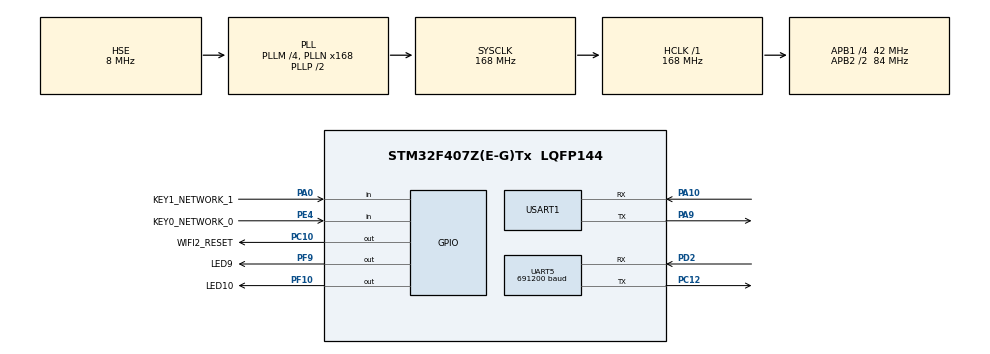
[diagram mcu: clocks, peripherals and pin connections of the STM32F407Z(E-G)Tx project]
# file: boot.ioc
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IWDG.Prescaler=IWDG_PRESCALER_256
Mcu.Family=STM32F4
Mcu.Name=STM32F407Z(E-G)Tx
Mcu.Package=LQFP144
NVIC.PriorityGroup=NVIC_PRIORITYGROUP_4
NVIC.TIM8_TRG_COM_TIM14_IRQn=true\:0\:0\:true\:true\:true\:1\:true\:true
NVIC.UART5_IRQn=true\:0\:0\:false\:false\:true\:true\:true
NVIC.USART1_IRQn=true\:0\:0\:false\:false\:true\:true\:true
PA0-WKUP.GPIO_Label=KEY1_NETWORK_1
PA0-WKUP.GPIO_PuPd=GPIO_PULLDOWN
PA0-WKUP.Signal=GPIO_Input
PA10.GPIO_PuPd=GPIO_PULLUP
PA10.GPIO_Speed=GPIO_SPEED_FREQ_HIGH
PA10.Mode=Asynchronous
PA10.Signal=USART1_RX
PA9.GPIO_PuPd=GPIO_PULLUP
PA9.GPIO_Speed=GPIO_SPEED_FREQ_HIGH
PA9.Mode=Asynchronous
PA9.Signal=USART1_TX
PC10.GPIO_Label=WIFI2_RESET
PC10.GPIO_PuPd=GPIO_PULLUP
PC10.PinState=GPIO_PIN_SET
PC10.Signal=GPIO_Output
PC12.GPIO_Speed=GPIO_SPEED_FREQ_HIGH
PC12.Mode=Asynchronous
PC12.Signal=UART5_TX
PD2.GPIO_Speed=GPIO_SPEED_FREQ_HIGH
PD2.Mode=Asynchronous
PD2.Signal=UART5_RX
PE4.GPIO_Label=KEY0_NETWORK_0
PE4.GPIO_PuPd=GPIO_PULLDOWN
PE4.Signal=GPIO_Input
PF10.GPIO_Label=LED10
PF10.GPIO_ModeDefaultOutputPP=GPIO_MODE_OUTPUT_PP
PF10.GPIO_PuPd=GPIO_PULLUP
PF10.PinState=GPIO_PIN_SET
PF10.Signal=GPIO_Output
PF9.GPIO_Label=LED9
PF9.GPIO_PuPd=GPIO_PULLUP
PF9.PinState=GPIO_PIN_SET
PF9.Signal=GPIO_Output
PH0-OSC_IN.Mode=HSE-External-Oscillator
PH0-OSC_IN.Signal=RCC_OSC_IN
PH1-OSC_OUT.Mode=HSE-External-Oscillator
PH1-OSC_OUT.Signal=RCC_OSC_OUT
ProjectManager.HeapSize=0x200
ProjectManager.StackSize=0x400
ProjectManager.TargetToolchain=MDK-ARM V5
RCC.48MHZClocksFreq_Value=84000000
RCC.AHBFreq_Value=168000000
RCC.APB1CLKDivider=RCC_HCLK_DIV4
RCC.APB1Freq_Value=42000000
RCC.APB1TimFreq_Value=84000000
RCC.APB2CLKDivider=RCC_HCLK_DIV2
RCC.APB2Freq_Value=84000000
RCC.APB2TimFreq_Value=168000000
RCC.CortexFreq_Value=168000000
RCC.HCLKFreq_Value=168000000
RCC.HSE_VALUE=8000000
RCC.HSI_VALUE=16000000
RCC.LSE_VALUE=32768
RCC.PLLM=4
RCC.PLLN=168
RCC.PLLSourceVirtual=RCC_PLLSOURCE_HSE
RCC.SYSCLKFreq_VALUE=168000000
RCC.SYSCLKSource=RCC_SYSCLKSOURCE_PLLCLK
RCC.VCOOutputFreq_Value=336000000
TIM14.AutoReloadPreload=TIM_AUTORELOAD_PRELOAD_ENABLE
TIM14.Period=999
TIM14.Prescaler=8399
UART5.BaudRate=691200
UART5.VirtualMode=Asynchronous
USART1.VirtualMode=VM_ASYNC
VP_IWDG_VS_IWDG.Mode=IWDG_Activate
VP_TIM14_VS_ClockSourceINT.Mode=Enable_Timer
board=custom

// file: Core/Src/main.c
/* USER CODE BEGIN Header */
/**
  ******************************************************************************
  * @file           : main.c
  * @brief          : Main program body
  ******************************************************************************
  * @attention
  *
  * <h2><center>&copy; Copyright (c) 2021 STMicroelectronics.
  * All rights reserved.</center></h2>
  *
  * This software component is licensed by ST under BSD 3-Clause license,
  * the "License"; You may not use this file except in compliance with the
  * License. You may obtain a copy of the License at:
  *                        opensource.org/licenses/BSD-3-Clause
  *
  ******************************************************************************
  */
/* USER CODE END Header */
#include "main.h"
#include "iwdg.h"
#include "tim.h"
#include "usart.h"
#include "gpio.h"

/* USER CODE BEGIN Includes */
#include "esp8266.h"
#include "iap.h"
#include "stmflash.h"
/* USER CODE END Includes */

/* USER CODE BEGIN PM */
uint8_t has_receive_app=0;
uint8_t auto_entry_app=1;
uint8_t p=0;
uint8_t ENTRY_NETWORK_METHOD = 0;// 默认配网
/* USER CODE END PM */

void SystemClock_Config(void);
static void MX_NVIC_Init(void);

/* USER CODE BEGIN 0 */

// 单次灯闪烁 0 led9,1 led10,2 都有,flicker是否闪烁，0灭，1亮，2闪一次,sync 是否同时闪烁双闪时有效
// keep 最终保持的状态，0熄灭，1亮，2原本状态,delay延迟ms
void flicker_led(uint8_t group,uint8_t flicker,uint8_t sync,uint8_t keep,uint16_t delay)
{
	// 只亮
	if(flicker==1||flicker==2){
		switch(group){
			case 2:
				if(sync){
					HAL_GPIO_WritePin(LED9_GPIO_Port,LED9_Pin,GPIO_PIN_RESET);
					HAL_GPIO_WritePin(LED10_GPIO_Port,LED10_Pin,GPIO_PIN_RESET);
				}else{
					HAL_GPIO_WritePin(LED9_GPIO_Port,LED9_Pin,GPIO_PIN_RESET);
					HAL_GPIO_WritePin(LED10_GPIO_Port,LED10_Pin,GPIO_PIN_SET);
				}
				break;
			case 1:
				HAL_GPIO_WritePin(LED10_GPIO_Port,LED10_Pin,GPIO_PIN_RESET);break;
			case 0:
				HAL_GPIO_WritePin(LED9_GPIO_Port,LED9_Pin,GPIO_PIN_RESET);break;
			default:;
		}
		HAL_Delay(delay);
	}
	// 只灭
	if(flicker==0||flicker==2){
		switch(group){
			case 2:
				if(sync){
					HAL_GPIO_WritePin(LED9_GPIO_Port,LED9_Pin,GPIO_PIN_SET);
					HAL_GPIO_WritePin(LED10_GPIO_Port,LED10_Pin,GPIO_PIN_SET);
				}else{
					HAL_GPIO_WritePin(LED9_GPIO_Port,LED9_Pin,GPIO_PIN_SET);
					HAL_GPIO_WritePin(LED10_GPIO_Port,LED10_Pin,GPIO_PIN_RESET);
				}
				break;
			case 1:
				HAL_GPIO_WritePin(LED10_GPIO_Port,LED10_Pin,GPIO_PIN_SET);break;
			case 0:
				HAL_GPIO_WritePin(LED9_GPIO_Port,LED9_Pin,GPIO_PIN_SET);break;
			default:;
		}
		HAL_Delay(delay);
	}
	switch(keep){
		case 1:
			HAL_GPIO_WritePin(LED9_GPIO_Port,LED9_Pin,GPIO_PIN_RESET);
			HAL_GPIO_WritePin(LED10_GPIO_Port,LED10_Pin,GPIO_PIN_RESET);
			break;
		case 0:
			HAL_GPIO_WritePin(LED9_GPIO_Port,LED9_Pin,GPIO_PIN_SET);
			HAL_GPIO_WritePin(LED10_GPIO_Port,LED10_Pin,GPIO_PIN_SET);
			break;
		default:;
	}
}

// 初始化选择入网方式
void init_net_method(void)
{
	printf("【select net start】\r\n");
	p=20;// 10次交替闪烁，单次闪烁中2次延时计算 4s
	while(--p&&ENTRY_NETWORK_METHOD==0)
	{
		flicker_led(2,2,0,0,100);
		// smartCOnfig配网,按下高电平
		if(HAL_GPIO_ReadPin(KEY0_NETWORK_0_GPIO_Port,KEY0_NETWORK_0_Pin)==GPIO_PIN_SET){
			ENTRY_NETWORK_METHOD = SmartConfig;
		}
	}
	p=0;
	printf("【select net end】\r\n");
}

// 进入应用程序
void entry_app(void)
{
	printf("开始执行FLASH用户代码!!\r\n");
	if(((*(__IO uint32_t *)(FLASH_APP1_ADDR+4))&0xFF000000)==0x08000000)//判断是否为0X08XXXXXX.
	{
		flicker_led(2,2,0,0,300);
		flicker_led(2,2,0,0,300);
		HAL_Delay(1000);
		HAL_IWDG_Refresh(&hiwdg);
		HAL_UART_Abort_IT(&huart1);// 终止串口1
		HAL_UART_Abort_IT(&huart5);// 终止串口5
		HAL_TIM_Base_MspDeInit(&htim14);// 取消定时器
		HAL_RCC_DeInit(); // 关闭外设
		iap_load_app(FLASH_APP1_ADDR);//执行FLASH APP代码
	}else{
		printf("非FLASH应用程序,无法执行!\r\n");
	}
}
/* USER CODE END 0 */

int main(void)
{
  /* USER CODE BEGIN 1 */
	uint32_t oldcount=0;
	uint32_t applenth=0;
	uint8_t i=0;
	uint8_t * car_data="{\"car_secret\":\"VlzbGfFuvRV8o67sTlRLMw==\"}";
	char *p;
  /* USER CODE END 1 */

  /* MCU Configuration--------------------------------------------------------*/

  /* Reset of all peripherals, Initializes the Flash interface and the Systick. */
  HAL_Init();

  /* Configure the system clock */
  SystemClock_Config();

  /* Initialize all configured peripherals */
  MX_GPIO_Init();
  MX_UART5_Init();
  MX_TIM14_Init();
  MX_USART1_UART_Init();
  MX_IWDG_Init();

  /* Initialize interrupts */
  MX_NVIC_Init();
  /* USER CODE BEGIN 2 */
	// 选择配网方式
	init_net_method();
	atk_8266_init();
  /* USER CODE END 2 */

  /* Infinite loop */
  /* USER CODE BEGIN WHILE */
  while (1)
  {
		// 接收中
		if(UART5_RX_STA)
		{
			// 接收固件中
			if(has_receive_app){
				//新周期内,没有收到任何数据,认为本次数据接收完成.
				if(oldcount==UART5_RX_STA)
				{
					applenth=UART5_RX_STA;
					oldcount=0;
					UART5_RX_STA=0;
					printf("用户程序接收完成!\r\n");
					printf("代码长度:%dBytes\r\n",applenth);

					printf("开始更新固件...\r\n");
					if(((*(__IO uint32_t*)(0X20001000+4))&0xFF000000)==0x08000000)//判断是否为0X08XXXXXX.
					{
						iap_write_appbin(FLASH_APP1_ADDR,UART5_RX_BUF,applenth);//更新FLASH代码
						printf("固件更新完成!\r\n");
						// 进入应用程序
						entry_app();
					}else{
						printf("非FLASH应用程序!\r\n");
					}
					// 清除接收固件标志位
					has_receive_app=0;
				}else{
					// 接收固件中
					printf("已下载:%d\r\n",UART5_RX_STA);
					oldcount=UART5_RX_STA;
				}
			}else if(UART5_RX_STA&0x80000000){
				// 指令接收完成
				// 接收指令中
				// system_reset: r-2
				// receive_app: r-3
				// entry_app: a-1
				// cancel_auto_app: c-0
				printf("%s\r\n",UART5_RX_BUF);
				// 系统复位，重新进入bootloader
				p = strstr((const char*)UART5_RX_BUF,"r-2");
				if(p) NVIC_SystemReset();// 系统复位

				// 准备开始接收应用程序
				p = strstr((const char*)UART5_RX_BUF,"r-3");
				if(p) has_receive_app=1;

				// 直接进入应用程序
				p = strstr((const char*)UART5_RX_BUF,"a-1");
				if(p) entry_app();

				// 取消自动进入应用程序
				p = strstr((const char*)UART5_RX_BUF,"c-0");
				if(p) auto_entry_app=0;

				UART5_RX_STA=0;
				HAL_UART_Receive_IT(&huart5,&UART5_RX_BUF[0],1);// 再次开启接收
			}

		}else{
			// 未接收到数据
			// 2s 发送一次设备密钥维持连接
			if(i%20==0){
				HAL_UART_Transmit_IT(&huart5,car_data,strlen((const char *)car_data));
				// 刷新看门狗
				HAL_IWDG_Refresh(&hiwdg);
				// 10s后自动进入应用程序
				if(i>=100){
					i=0;
					// 进入应用程序
					if(auto_entry_app) entry_app();
				}
			}
		}

		i++;
		HAL_Delay(100);
    /* USER CODE END WHILE */

  }
}

void SystemClock_Config(void)
{
  RCC_OscInitTypeDef RCC_OscInitStruct = {0};
  RCC_ClkInitTypeDef RCC_ClkInitStruct = {0};

  /** Configure the main internal regulator output voltage
  */
  __HAL_RCC_PWR_CLK_ENABLE();
  __HAL_PWR_VOLTAGESCALING_CONFIG(PWR_REGULATOR_VOLTAGE_SCALE1);
  /** Initializes the RCC Oscillators according to the specified parameters
  * in the RCC_OscInitTypeDef structure.
  */
  RCC_OscInitStruct.OscillatorType = RCC_OSCILLATORTYPE_LSI|RCC_OSCILLATORTYPE_HSE;
  RCC_OscInitStruct.HSEState = RCC_HSE_ON;
  RCC_OscInitStruct.LSIState = RCC_LSI_ON;
  RCC_OscInitStruct.PLL.PLLState = RCC_PLL_ON;
  RCC_OscInitStruct.PLL.PLLSource = RCC_PLLSOURCE_HSE;
  RCC_OscInitStruct.PLL.PLLM = 4;
  RCC_OscInitStruct.PLL.PLLN = 168;
  RCC_OscInitStruct.PLL.PLLP = RCC_PLLP_DIV2;
  RCC_OscInitStruct.PLL.PLLQ = 4;
  if (HAL_RCC_OscConfig(&RCC_OscInitStruct) != HAL_OK)
  {
    Error_Handler();
  }
  /** Initializes the CPU, AHB and APB buses clocks
  */
  RCC_ClkInitStruct.ClockType = RCC_CLOCKTYPE_HCLK|RCC_CLOCKTYPE_SYSCLK
                              |RCC_CLOCKTYPE_PCLK1|RCC_CLOCKTYPE_PCLK2;
  RCC_ClkInitStruct.SYSCLKSource = RCC_SYSCLKSOURCE_PLLCLK;
  RCC_ClkInitStruct.AHBCLKDivider = RCC_SYSCLK_DIV1;
  RCC_ClkInitStruct.APB1CLKDivider = RCC_HCLK_DIV4;
  RCC_ClkInitStruct.APB2CLKDivider = RCC_HCLK_DIV2;

  if (HAL_RCC_ClockConfig(&RCC_ClkInitStruct, FLASH_LATENCY_5) != HAL_OK)
  {
    Error_Handler();
  }
}

/**
  * @brief NVIC Configuration.
  * @retval None
  */
static void MX_NVIC_Init(void)
{
  /* TIM8_TRG_COM_TIM14_IRQn interrupt configuration */
  HAL_NVIC_SetPriority(TIM8_TRG_COM_TIM14_IRQn, 0, 0);
  HAL_NVIC_EnableIRQ(TIM8_TRG_COM_TIM14_IRQn);
}

/* USER CODE BEGIN 4 */
// 串口接收中断
void HAL_UART_RxCpltCallback(UART_HandleTypeDef *huart)
{
	// 接收未完成
	if(huart->Instance==UART5 && (UART5_RX_STA&0x80000000)==0)
	{
		// 小车指令解析
		if(init_wifi2_finish)
		{
			// 接收指令
			if(has_receive_app==0){
				if(UART5_RX_BUF[UART5_RX_STA]=='@'){
					UART5_RX_STA=0;
					HAL_UART_Receive_IT(&huart5,&UART5_RX_BUF[0],1);// 正常接收数据
				}else if(UART5_RX_BUF[UART5_RX_STA]=='$'){
					UART5_RX_BUF[UART5_RX_STA&0x7FFFFFFF]='\0';
					UART5_RX_STA|=0x80000000;	//标记接收完成
				}else{
					HAL_UART_Receive_IT(&huart5,&UART5_RX_BUF[++UART5_RX_STA],1);// 正常接收数据
				}
			}else{
				HAL_UART_Receive_IT(&huart5,&UART5_RX_BUF[++UART5_RX_STA],1);// 正常接收数据
			}
		}else{
			// wifi2初始化
			// 直到间隔50ms没数据则标记完成接收
			if(UART5_RX_STA==0) HAL_TIM_Base_Start_IT(&htim14);
			__HAL_TIM_SET_COUNTER(&htim14,0);
			HAL_UART_Receive_IT(&huart5,&UART5_RX_BUF[++UART5_RX_STA],1);// 开启下次接收
			if(UART5_RX_STA+1>=UART5_MAX_RECV_LEN) UART5_RX_STA=0;// 超出接收，重置接收
		}
	}
}

// 定时器中断
void HAL_TIM_PeriodElapsedCallback(TIM_HandleTypeDef *htim)
{
  /* USER CODE BEGIN Callback 0 */

  /* USER CODE END Callback 0 */

  /* USER CODE BEGIN Callback 1 */

	// 串口5用到的定时器
	if(htim->Instance == TIM14)
	{
		HAL_TIM_Base_Stop_IT(&htim14);
		HAL_UART_AbortReceive_IT(&huart5);// 终止串口5接收中断
		UART5_RX_BUF[UART5_RX_STA&0x7FFFFFFF]='\0';
		UART5_RX_STA|=0x80000000;	//标记接收完成
		return;
	}

  /* USER CODE END Callback 1 */
}
/* USER CODE END 4 */

void Error_Handler(void)
{
  __disable_irq();
  while (1)
  {
  }
}

/************************ (C) COPYRIGHT STMicroelectronics *****END OF FILE****/
